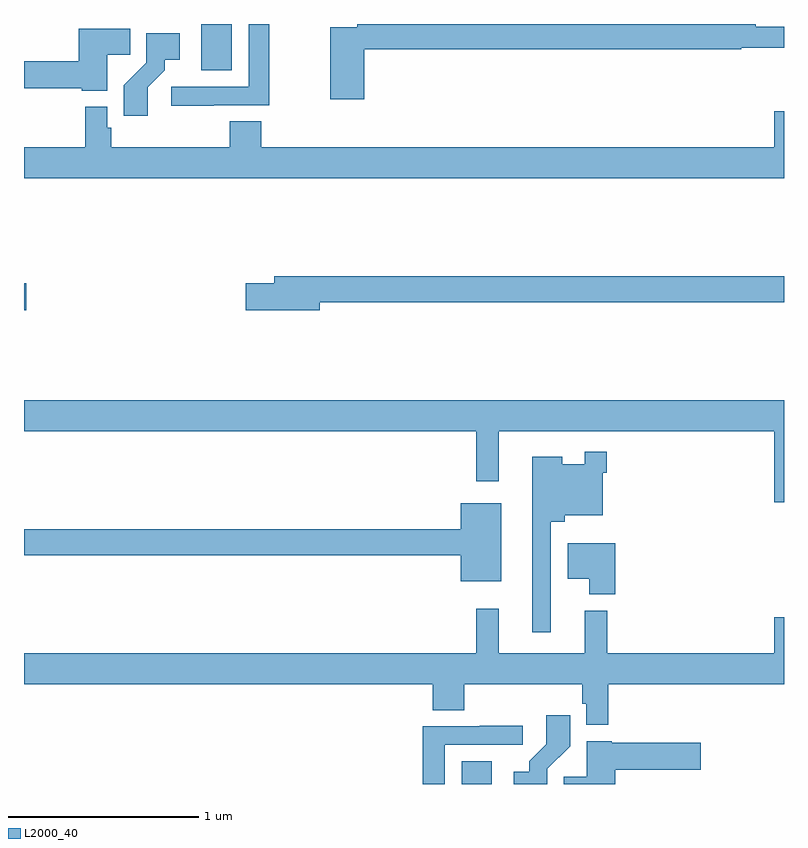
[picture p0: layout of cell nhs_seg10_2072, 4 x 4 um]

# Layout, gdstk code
import gdstk
lib = gdstk.Library(unit=1e-6, precision=1e-09)
def R(c, l, rs):  # rectangles x0, y0, x1, y1
    for r in rs: c.add(gdstk.rectangle(r[:2], r[2:], *l))
def P(c, l, *ps):  # polygons
    for p in ps: c.add(gdstk.Polygon(p, *l))
L2000_40 = (2000, 40)

nhs_seg10_2072 = lib.new_cell('nhs_seg10_2072')
R(nhs_seg10_2072, L2000_40, [(223.304,1258.5,223.462,1258.621), (221,1260.994,221.011,1261.136), (221.933,1262.256,222.094,1262.5)])
P(nhs_seg10_2072, L2000_40, [(221.999,1262.073),(222.292,1262.073),(222.292,1262.5),(222.183,1262.5),(222.183,1262.169),(221.775,1262.169),(221.775,1262.071),(221.999,1262.071)],
  [(222.791,1262.368),(224.774,1262.368),(224.774,1262.376),(225,1262.376),(225,1262.485),(224.852,1262.485),(224.852,1262.5),(222.754,1262.5),(222.754,1262.484),(222.613,1262.484),(222.613,1262.103),(222.791,1262.103)],
  [(221.437,1262.338),(221.558,1262.338),(221.558,1262.476),(221.288,1262.476),(221.288,1262.303),(221,1262.303),(221,1262.161),(221.304,1262.161),(221.304,1262.15),(221.437,1262.15)],
  [(221.65,1262.167),(221.74,1262.257),(221.74,1262.312),(221.821,1262.312),(221.821,1262.452),(221.643,1262.452),(221.643,1262.297),(221.524,1262.178),(221.524,1262.016),(221.65,1262.016)],
  [(225,1262.041),(224.948,1262.041),(224.948,1261.852),(222.248,1261.852),(222.248,1261.988),(222.083,1261.988),(222.083,1261.852),(221.459,1261.852),(221.459,1261.953),(221.439,1261.953),(221.439,1262.065),(221.323,1262.065),(221.323,1261.852),(221,1261.852),(221,1261.688),(225,1261.688)],
  [(222.556,1261.036),(225,1261.036),(225,1261.172),(222.317,1261.172),(222.317,1261.136),(222.168,1261.136),(222.168,1260.994),(222.556,1260.994)],
  [(225,1260.52),(221,1260.52),(221,1260.356),(223.381,1260.356),(223.381,1260.093),(223.498,1260.093),(223.498,1260.356),(224.948,1260.356),(224.948,1259.982),(225,1259.982)],
  [(223.773,1259.879),(223.847,1259.879),(223.847,1259.915),(224.046,1259.915),(224.046,1260.137),(224.066,1260.137),(224.066,1260.25),(223.95,1260.25),(223.95,1260.184),(223.834,1260.184),(223.834,1260.223),(223.676,1260.223),(223.676,1259.298),(223.773,1259.298)],
  [(223.513,1259.977),(223.298,1259.977),(223.298,1259.84),(221,1259.84),(221,1259.704),(223.298,1259.704),(223.298,1259.567),(223.513,1259.567)],
  [(224.111,1259.767),(223.862,1259.767),(223.862,1259.579),(223.976,1259.579),(223.976,1259.498),(224.111,1259.498)],
  [(224.075,1259.024),(225,1259.024),(225,1259.377),(224.948,1259.377),(224.948,1259.188),(224.069,1259.188),(224.069,1259.413),(223.952,1259.413),(223.952,1259.188),(223.499,1259.188),(223.499,1259.422),(223.381,1259.422),(223.381,1259.188),(221,1259.188),(221,1259.024),(223.151,1259.024),(223.151,1258.888),(223.316,1258.888),(223.316,1259.024),(223.939,1259.024),(223.939,1258.923),(223.959,1258.923),(223.959,1258.811),(224.075,1258.811)],
  [(223.755,1258.579),(223.874,1258.698),(223.874,1258.861),(223.749,1258.861),(223.749,1258.709),(223.658,1258.619),(223.658,1258.564),(223.578,1258.564),(223.578,1258.5),(223.755,1258.5)],
  [(223.215,1258.707),(223.624,1258.707),(223.624,1258.806),(223.399,1258.806),(223.399,1258.803),(223.099,1258.803),(223.099,1258.5),(223.215,1258.5)],
  [(224.111,1258.574),(224.563,1258.574),(224.563,1258.716),(224.094,1258.716),(224.094,1258.726),(223.961,1258.726),(223.961,1258.538),(223.84,1258.538),(223.84,1258.5),(224.111,1258.5)])

lib.write_gds('nhs_seg10_2072.gds')
